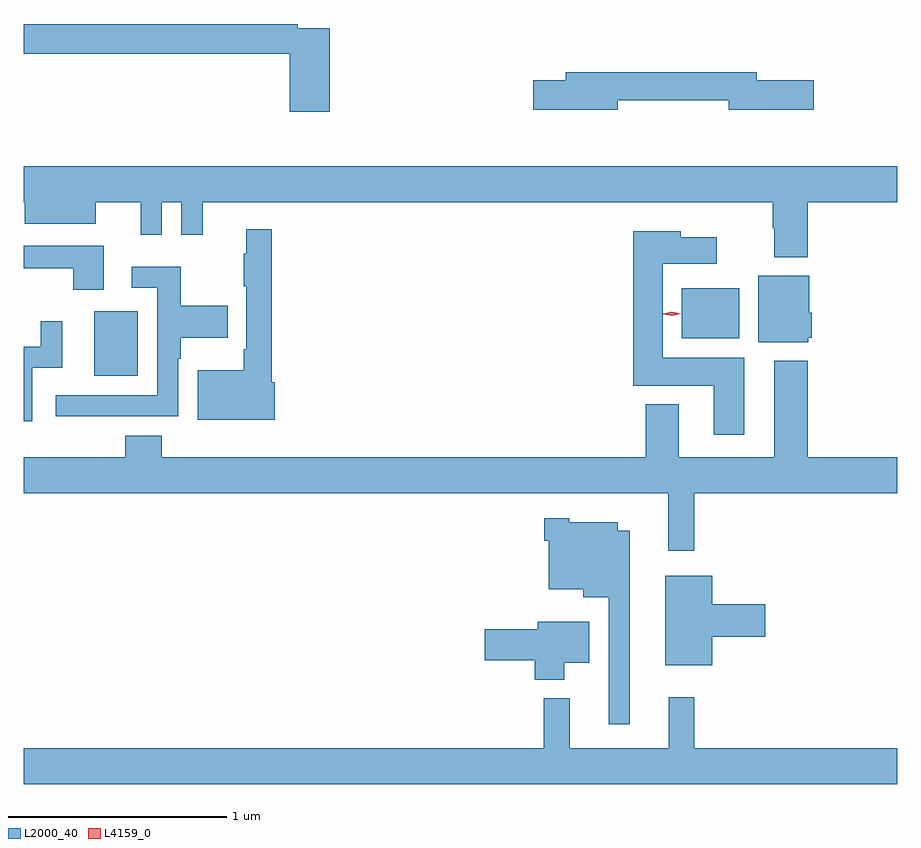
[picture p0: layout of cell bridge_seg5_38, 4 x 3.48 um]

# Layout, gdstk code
import gdstk
lib = gdstk.Library(unit=1e-6, precision=1e-09)
def R(c, l, rs):  # rectangles x0, y0, x1, y1
    for r in rs: c.add(gdstk.rectangle(r[:2], r[2:], *l))
def P(c, l, *ps):  # polygons
    for p in ps: c.add(gdstk.Polygon(p, *l))
L2000_40 = (2000, 40)
L4159_0 = (4159, 0)

bridge_seg5_38 = lib.new_cell('bridge_seg5_38')
R(bridge_seg5_38, L2000_40, [(685.691,909.245,685.891,909.541), (688.382,909.416,688.645,909.646)])
P(bridge_seg5_38, L2000_40, [(686.771,910.836),(686.624,910.836),(686.624,910.856),(685.369,910.856),(685.369,910.72),(686.588,910.72),(686.588,910.455),(686.771,910.455)],
  [(688.09,910.506),(688.598,910.506),(688.598,910.463),(688.987,910.463),(688.987,910.598),(688.726,910.598),(688.726,910.634),(687.851,910.634),(687.851,910.598),(687.702,910.598),(687.702,910.463),(688.09,910.463)],
  [(688.958,910.04),(689.369,910.04),(689.369,910.204),(685.369,910.204),(685.369,910.04),(685.373,910.04),(685.373,909.941),(685.699,909.941),(685.699,910.04),(685.904,910.04),(685.904,909.891),(686.001,909.891),(686.001,910.04),(686.091,910.04),(686.091,909.891),(686.189,909.891),(686.189,910.04),(688.798,910.04),(688.798,909.92),(688.805,909.92),(688.805,909.788),(688.958,909.788)],
  [(686.518,909.215),(686.504,909.215),(686.504,909.916),(686.387,909.916),(686.387,909.803),(686.376,909.803),(686.376,909.655),(686.388,909.655),(686.388,909.367),(686.376,909.367),(686.376,909.271),(686.165,909.271),(686.165,909.044),(686.518,909.044)],
  [(688.669,909.328),(688.294,909.328),(688.294,909.758),(688.543,909.758),(688.543,909.88),(688.377,909.88),(688.377,909.907),(688.16,909.907),(688.16,909.2),(688.529,909.2),(688.529,908.976),(688.669,908.976)],
  [(685.735,909.841),(685.369,909.841),(685.369,909.737),(685.595,909.737),(685.595,909.639),(685.735,909.639)],
  [(685.751,909.06),(686.076,909.06),(686.076,909.323),(686.089,909.323),(686.089,909.419),(686.303,909.419),(686.303,909.567),(686.089,909.567),(686.089,909.745),(685.863,909.745),(685.863,909.648),(685.98,909.648),(685.98,909.156),(685.515,909.156),(685.515,909.059),(685.751,909.059)],
  [(688.962,909.42),(688.978,909.42),(688.978,909.534),(688.966,909.534),(688.966,909.703),(688.733,909.703),(688.733,909.398),(688.962,909.398)],
  [(685.408,909.282),(685.546,909.282),(685.546,909.496),(685.448,909.496),(685.448,909.378),(685.369,909.378),(685.369,909.036),(685.408,909.036)],
  [(688.439,908.708),(689.369,908.708),(689.369,908.872),(688.958,908.872),(688.958,909.313),(688.805,909.313),(688.805,908.872),(688.369,908.872),(688.369,909.115),(688.217,909.115),(688.217,908.872),(686,908.872),(686,908.971),(685.835,908.971),(685.835,908.872),(685.369,908.872),(685.369,908.708),(688.321,908.708),(688.321,908.445),(688.439,908.445)],
  [(688.144,908.536),(688.09,908.536),(688.09,908.575),(687.867,908.575),(687.867,908.593),(687.752,908.593),(687.752,908.489),(687.773,908.489),(687.773,908.267),(687.932,908.267),(687.932,908.231),(688.047,908.231),(688.047,907.65),(688.144,907.65)],
  [(688.522,908.051),(688.765,908.051),(688.765,908.198),(688.522,908.198),(688.522,908.329),(688.307,908.329),(688.307,907.919),(688.522,907.919)],
  [(687.844,907.931),(687.958,907.931),(687.958,908.119),(687.722,908.119),(687.722,908.084),(687.48,908.084),(687.48,907.942),(687.71,907.942),(687.71,907.853),(687.844,907.853)],
  [(689.369,907.54),(688.439,907.54),(688.439,907.774),(688.322,907.774),(688.322,907.54),(687.869,907.54),(687.869,907.768),(687.751,907.768),(687.751,907.54),(685.369,907.54),(685.369,907.376),(689.369,907.376)])
P(bridge_seg5_38, L4159_0, [(688.338,909.519),(688.297,909.528),(688.297,909.529),(688.297,909.529),(688.337,909.539),(688.378,909.53),(688.378,909.529),(688.378,909.529)])

lib.write_gds('bridge_seg5_38.gds')
